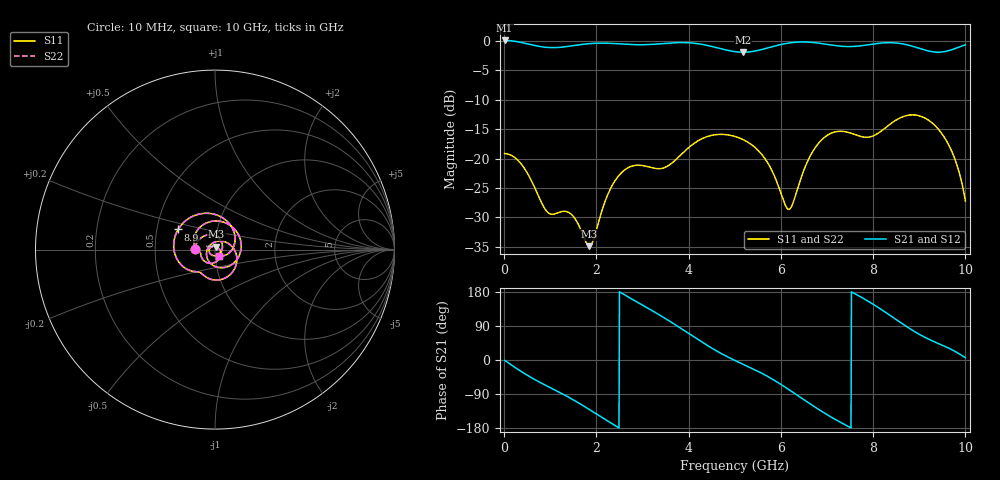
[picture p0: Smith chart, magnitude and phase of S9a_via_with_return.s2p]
! kicad_em_sim: S-parameters of 2 ports, openEMS
# Hz S RI R 50
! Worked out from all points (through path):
!   1000 points, 10 MHz to 10 GHz, reference 50 ohm
!   highest |S21| = 0.03 dB at 10 MHz (marker M1); lowest = -2.0 dB at 5.18 GHz (marker M2)
!   group delay of S21, straight-line fit = 199 ps
!   lowest |S11| = -34.9 dB at 1.85 GHz (marker M3), VSWR 1.04, Z = 50.7 + j1.68 ohm
!   |S11| at or under -10 dB: start of sweep to end of sweep
!   |S22| runs from -34.9 to -12.6 dB; largest |S21 - S12| = 6.1e-07
!   S11 on the Smith chart (normalised r, x): 10 MHz: 0.80, +0.01; 8.9 GHz: 0.64, +0.15; 10 GHz: 1.05, -0.08
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1e7  -0.1102 0.00333  1.003 -0.0147  1.003 -0.0147  -0.1102 0.00333
7.1e8  0.0388 0.0339  0.5211 -0.7356  0.5211 -0.7356  0.0388 0.0339
1.28e9  -0.0227 -0.0275  -0.00568 -0.8831  -0.00568 -0.8831  -0.0227 -0.0275
1.68e9  -0.0168 0.017  -0.4374 -0.8184  -0.4374 -0.8184  -0.0168 0.017
1.85e9  0.0071 0.0166  -0.6169 -0.7133  -0.6169 -0.7133  0.0071 0.0166
2.52e9  -0.00731 -0.0738  -0.9379 0.0247  -0.9379 0.0247  -0.00731 -0.0738
3.34e9  -0.0791 -0.0216  -0.4817 0.8047  -0.4817 0.8047  -0.0791 -0.0216
3.69e9  -0.0951 -0.00635  -0.078 0.9566  -0.078 0.9566  -0.0951 -0.00635
4e9  -0.1173 0.0393  0.3256 0.9025  0.3256 0.9025  -0.1173 0.0393
4.47e9  -0.0455 0.1495  0.7484 0.498  0.7484 0.498  -0.0455 0.1495
5.01e9  0.1366 0.0702  0.8059 -0.023  0.8059 -0.023  0.1366 0.0702
5.18e9  0.1447 -0.000681  0.7828 -0.1549  0.7828 -0.1549  0.1447 -0.000681
5.73e9  -0.00878 -0.0893  0.621 -0.6103  0.621 -0.6103  -0.00878 -0.0893
6.16e9  -0.0281 0.0242  0.2142 -0.9283  0.2142 -0.9283  -0.0281 0.0242
6.67e9  0.1109 -0.00639  -0.4639 -0.8484  -0.4639 -0.8484  0.1109 -0.00639
7.07e9  0.0852 -0.1384  -0.7906 -0.472  -0.7906 -0.472  0.0852 -0.1384
7.55e9  -0.0441 -0.1564  -0.8916 0.0213  -0.8916 0.0213  -0.0441 -0.1564
7.97e9  -0.0896 -0.1252  -0.8018 0.4744  -0.8018 0.4744  -0.0896 -0.1252
8.34e9  -0.1589 -0.1078  -0.4796 0.8323  -0.4796 0.8323  -0.1589 -0.1078
8.9e9  -0.2056 0.112  0.2307 0.8539  0.2307 0.8539  -0.2056 0.112
9.56e9  0.1029 0.106  0.6568 0.4717  0.6568 0.4717  0.1029 0.106
1e10  0.0237 -0.0365  0.9171 0.0964  0.9171 0.0964  0.0237 -0.0365
